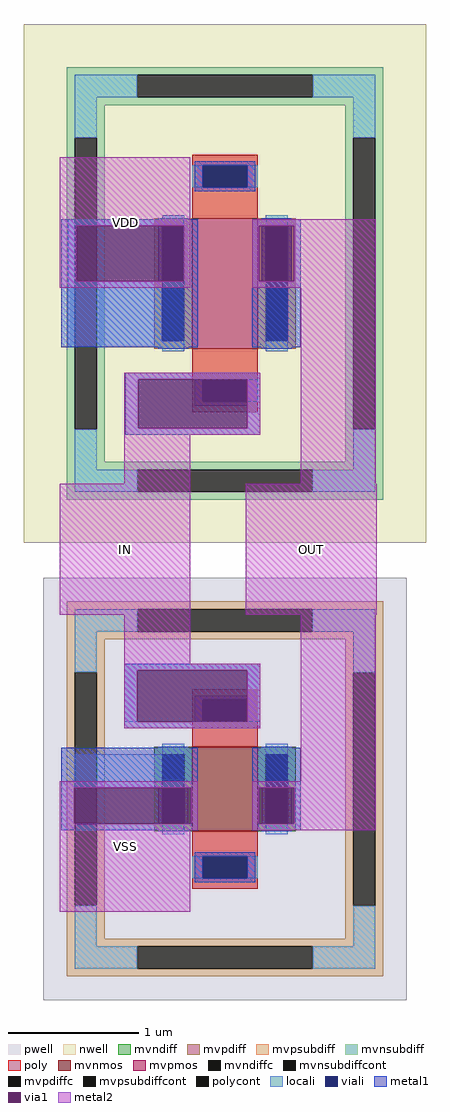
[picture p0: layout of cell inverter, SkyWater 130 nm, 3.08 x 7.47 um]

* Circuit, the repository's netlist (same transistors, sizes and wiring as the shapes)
** sch_path: /foss/designs/matrix-dac/xschem/inverter.sch
.subckt inverter VDD IN OUT VSS
*.PININFO VSS:B VDD:B IN:I OUT:O
XM1 OUT IN VSS VSS sky130_fd_pr__nfet_g5v0d10v5 L=0.5 W=0.65 nf=1 ad='int((nf+1)/2) * W/nf * 0.29' as='int((nf+2)/2) * W/nf * 0.29'
+ pd='2*int((nf+1)/2) * (W/nf + 0.29)' ps='2*int((nf+2)/2) * (W/nf + 0.29)' nrd='0.29 / W' nrs='0.29 / W' sa=0 sb=0 sd=0 mult=1 m=1
XM2 OUT IN VDD VDD sky130_fd_pr__pfet_g5v0d10v5 L=0.5 W=1 nf=1 ad='int((nf+1)/2) * W/nf * 0.29' as='int((nf+2)/2) * W/nf * 0.29' pd='2*int((nf+1)/2) * (W/nf + 0.29)'
+ ps='2*int((nf+2)/2) * (W/nf + 0.29)' nrd='0.29 / W' nrs='0.29 / W' sa=0 sb=0 sd=0 mult=1 m=1
.ends
.end

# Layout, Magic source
magic
tech sky130A
magscale 1 2
<< locali >>
rect 67 999 246 1195
rect 175 875 342 950
rect 154 426 362 515
rect 77 270 246 376
<< metal1 >>
rect 57 1185 266 1195
rect 57 1100 80 1185
rect 245 1100 266 1185
rect 57 999 266 1100
rect 350 1185 424 1195
rect 350 1100 360 1185
rect 414 1100 424 1185
rect 350 999 424 1100
rect 155 950 362 960
rect 155 875 175 950
rect 342 875 362 950
rect 155 865 362 875
rect 154 505 362 515
rect 154 426 174 505
rect 342 426 362 505
rect 154 416 362 426
rect 57 325 266 386
rect 57 270 77 325
rect 256 270 266 325
rect 57 260 266 270
rect 350 325 424 386
rect 350 270 360 325
rect 414 270 424 325
rect 350 260 424 270
<< via1 >>
rect 80 1100 245 1185
rect 360 1100 414 1185
rect 175 875 342 950
rect 174 426 342 505
rect 77 270 256 325
rect 360 270 414 325
<< metal2 >>
rect 55 1185 255 1290
rect 55 1100 80 1185
rect 245 1100 255 1185
rect 55 1090 255 1100
rect 350 1185 539 1195
rect 350 1100 360 1185
rect 414 1100 539 1185
rect 350 1090 539 1100
rect 154 950 362 960
rect 154 875 175 950
rect 342 875 362 950
rect 154 865 362 875
rect 154 790 255 865
rect 424 790 539 1090
rect 55 590 255 790
rect 340 590 540 790
rect 154 515 255 590
rect 154 505 362 515
rect 154 426 174 505
rect 342 426 362 505
rect 154 416 362 426
rect 424 335 539 590
rect 55 325 266 335
rect 55 270 77 325
rect 256 270 266 325
rect 55 260 266 270
rect 350 325 539 335
rect 350 270 360 325
rect 414 270 539 325
rect 350 260 539 270
rect 55 135 255 260
use sky130_fd_pr__nfet_g5v0d10v5_CYDA8L  XM1
transform 1 0 308 0 1 323
box -278 -323 278 323
use sky130_fd_pr__pfet_g5v0d10v5_KLAZY6  XM2
transform 1 0 308 0 1 1097
box -308 -397 308 397
<< labels >>
flabel metal2 55 590 255 790 0 FreeSans 256 0 0 0 IN
port 2 nsew
flabel metal2 55 1090 255 1290 0 FreeSans 256 0 0 0 VDD
port 1 nsew
flabel metal2 55 135 255 335 0 FreeSans 256 0 0 0 VSS
port 4 nsew
flabel metal2 340 590 540 790 0 FreeSans 256 0 0 0 OUT
port 3 nsew
<< end >>

# cell sky130_fd_pr__nfet_g5v0d10v5_CYDA8L: kit device sky130_fd_pr__nfet_g5v0d10v5, w 0.65 l 0.5 m 1 nf 1 diffcov 100 polycov 100 guard 1 glc 1 grc 1 gtc 1 gbc 1 tbcov 100 rlcov 100 topc 1 botc 1 poverlap 0 doverlap 1 lmin 0.50 wmin 0.42 compatible {sky130_fd_pr__nfet_01v8 sky130_fd_pr__nfet_01v8_lvt sky130_fd_bs_flash__special_sonosfet_star sky130_fd_pr__nfet_g5v0d10v5 sky130_fd_pr__nfet_05v0_nvt sky130_fd_pr__nfet_03v3_nvt} full_metal 1 viasrc 100 viadrn 100 viagate 100 viagb 0 viagr 0 viagl 0 viagt 0

# cell sky130_fd_pr__pfet_g5v0d10v5_KLAZY6: kit device sky130_fd_pr__pfet_g5v0d10v5, w 1.0 l 0.5 m 1 nf 1 diffcov 100 polycov 100 guard 1 glc 1 grc 1 gtc 1 gbc 1 tbcov 100 rlcov 100 topc 1 botc 1 poverlap 0 doverlap 1 lmin 0.50 wmin 0.42 compatible {sky130_fd_pr__pfet_01v8 sky130_fd_pr__pfet_01v8_lvt sky130_fd_pr__pfet_01v8_hvt sky130_fd_pr__pfet_g5v0d10v5} full_metal 1 viasrc 100 viadrn 100 viagate 100 viagb 0 viagr 0 viagl 0 viagt 0
